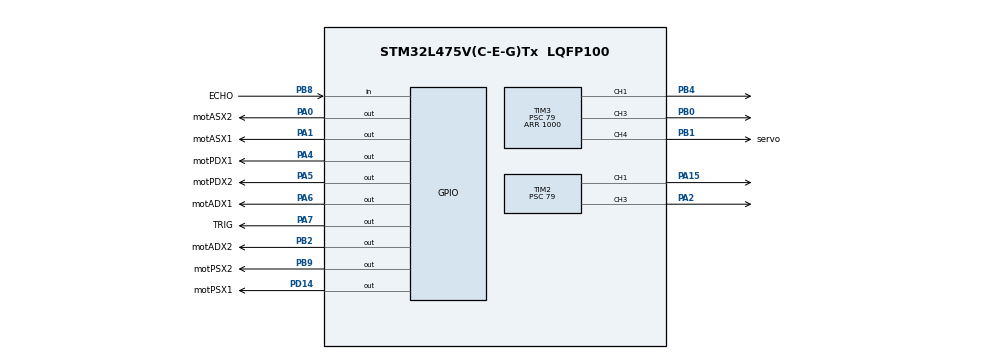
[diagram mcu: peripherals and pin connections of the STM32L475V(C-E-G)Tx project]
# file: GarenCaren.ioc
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Mcu.Family=STM32L4
Mcu.Name=STM32L475V(C-E-G)Tx
Mcu.Package=LQFP100
NVIC.PriorityGroup=NVIC_PRIORITYGROUP_4
NVIC.TIM2_IRQn=true\:0\:0\:false\:false\:true\:true\:true\:true
PA0.GPIO_Label=motASX2
PA0.Signal=GPIO_Output
PA1.GPIO_Label=motASX1
PA1.Signal=GPIO_Output
PA13\ (JTMS-SWDIO).Mode=Serial_Wire
PA13\ (JTMS-SWDIO).Signal=SYS_JTMS-SWDIO
PA14\ (JTCK-SWCLK).Mode=Serial_Wire
PA14\ (JTCK-SWCLK).Signal=SYS_JTCK-SWCLK
PA15\ (JTDI).Signal=S_TIM2_CH1
PA2.Signal=S_TIM2_CH3
PA4.GPIO_Label=motPDX1
PA4.Signal=GPIO_Output
PA5.GPIO_Label=motPDX2
PA5.Signal=GPIO_Output
PA6.GPIO_Label=motADX1
PA6.Signal=GPIO_Output
PA7.GPIO_Label=TRIG
PA7.Signal=GPIO_Output
PB0.Signal=S_TIM3_CH3
PB1.GPIO_Label=servo
PB1.Signal=S_TIM3_CH4
PB2.GPIO_Label=motADX2
PB2.Signal=GPIO_Output
PB4\ (NJTRST).Signal=S_TIM3_CH1
PB8.GPIO_Label=ECHO
PB8.Signal=GPIO_Input
PB9.GPIO_Label=motPSX2
PB9.Signal=GPIO_Output
PD14.GPIO_Label=motPSX1
PD14.Signal=GPIO_Output
ProjectManager.HeapSize=0x200
ProjectManager.StackSize=0x400
ProjectManager.TargetToolchain=STM32CubeIDE
RCC.HSE_VALUE=8000000
RCC.HSI_VALUE=16000000
RCC.LSE_VALUE=32768
RCC.MSI_VALUE=4000000
RCC.VCOOutputFreq_Value=32000000
SH.S_TIM2_CH1.0=TIM2_CH1,PWM Generation1 CH1
SH.S_TIM2_CH3.0=TIM2_CH3,PWM Generation3 CH3
SH.S_TIM3_CH1.0=TIM3_CH1,PWM Generation1 CH1
SH.S_TIM3_CH3.0=TIM3_CH3,PWM Generation3 CH3
SH.S_TIM3_CH4.0=TIM3_CH4,PWM Generation4 CH4
TIM2.Channel-PWM\ Generation1\ CH1=TIM_CHANNEL_1
TIM2.Channel-PWM\ Generation3\ CH3=TIM_CHANNEL_3
TIM2.Period=19999
TIM2.Prescaler=79
TIM3.Channel-PWM\ Generation1\ CH1=TIM_CHANNEL_1
TIM3.Channel-PWM\ Generation3\ CH3=TIM_CHANNEL_3
TIM3.Channel-PWM\ Generation4\ CH4=TIM_CHANNEL_4
TIM3.ClockDivision=TIM_CLOCKDIVISION_DIV1
TIM3.Period=1000
TIM3.Prescaler=79
VP_TIM2_VS_ClockSourceINT.Mode=Internal
VP_TIM3_VS_ClockSourceINT.Mode=Internal
board=custom

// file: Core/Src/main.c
/* USER CODE BEGIN Header */
/**
  ******************************************************************************
  * @file           : main.c
  * @brief          : Main program body
  ******************************************************************************
  * @attention
  *
  * Copyright (c) 2026 STMicroelectronics.
  * All rights reserved.
  *
  * This software is licensed under terms that can be found in the LICENSE file
  * in the root directory of this software component.
  * If no LICENSE file comes with this software, it is provided AS-IS.
  *
  ******************************************************************************
  */
/* USER CODE END Header */
#include "main.h"

TIM_HandleTypeDef htim2;
TIM_HandleTypeDef htim3;

void SystemClock_Config(void);
static void MX_GPIO_Init(void);
static void MX_TIM2_Init(void);
static void MX_TIM3_Init(void);
/* USER CODE BEGIN PFP */
void Servo_SetAngle(uint8_t angle);
void mot_test(void);
void sonar_test(float distanza_min,float distanza_max);
void set_mot_spin_destra(uint16_t speed);
void set_mot_spin_sinistra(uint16_t speed);
void set_mot_curva_destra(void);
void set_mot_curva_sinistra(void);
void mot_turn(uint8_t direzione, uint16_t speed);
void path_finding(void);
float scan_direction(uint8_t verso, uint16_t durata_ms, uint16_t speed);
void DWT_Init(void);
static void mot_dir_lato_sinistro(uint8_t avanti);
static void mot_dir_lato_destro(uint8_t avanti);

void set_mot_speed_individual(uint16_t speed_asx, uint16_t speed_adx, uint16_t speed_psx, uint16_t speed_pdx);
/* USER CODE END PFP */

/* USER CODE BEGIN 0 */

/* --------------------------------------------------------------
   Init del DWT cycle counter: contatore libero della CPU, usato
   per la misura di tempo in misura()/delay_us(). Indipendente
   dai timer periferici -> non disturba mai il PWM dei motori.
   -------------------------------------------------------------- */
void DWT_Init(void)
{
    CoreDebug->DEMCR |= CoreDebug_DEMCR_TRCENA_Msk;
    DWT->CYCCNT = 0;
    DWT->CTRL |= DWT_CTRL_CYCCNTENA_Msk;
}

void Servo_startup(void){
	for (int i = SERVO_posDestra; i <=SERVO_posSinistra ; i++){
		Servo_SetAngle(i);
		HAL_Delay(5);
	 }
	for (int i = SERVO_posSinistra; i > SERVO_posDestra; i--){
		 Servo_SetAngle(i);
		 HAL_Delay(5);
	}
	Servo_SetAngle(SERVO_posDefault);
}

void Servo_SetAngle(uint8_t angle)
{
    uint32_t pulse;

    if (angle > 180U) {
        angle = 180U;
    }

    //
    pulse = SERVO_MIN_TICK + (((uint32_t)angle * (SERVO_MAX_TICK - SERVO_MIN_TICK)) / 180U);

    __HAL_TIM_SET_COMPARE(&htim3, TIM_CHANNEL_4, pulse);
}

/* --------------------------------------------------------------
   delay_us basata sul DWT (prima usava htim2, che è lo stesso
   timer che genera il PWM di 2 motori -> conflitto rimosso).
   -------------------------------------------------------------- */
void delay_us(uint32_t us)
{
    uint32_t start = DWT->CYCCNT;
    uint32_t ticks = us * (SystemCoreClock / 1000000U);
    while ((DWT->CYCCNT - start) < ticks);
}

/* --------------------------------------------------------------
   misura(): stessa formula di distanza di prima, ma il timing
   ora viene dal DWT invece che da htim2, quindi ogni lettura
   ad ultrasuoni non disturba più il PWM dei motori PSX/ADX.
   -------------------------------------------------------------- */
float misura(void)
{
    uint32_t t_trig, t1, t2;
    uint32_t timeout_ticks = (SystemCoreClock / 1000U) * 30U; // timeout 30 ms

    HAL_GPIO_WritePin(TRIG_GPIO_Port, TRIG_Pin, GPIO_PIN_SET);
    delay_us(10);   // impulso di trigger corretto: 10us reali
    HAL_GPIO_WritePin(TRIG_GPIO_Port, TRIG_Pin, GPIO_PIN_RESET);

    t_trig = DWT->CYCCNT;
    while (HAL_GPIO_ReadPin(ECHO_GPIO_Port, ECHO_Pin) == GPIO_PIN_RESET)
    {
        if ((DWT->CYCCNT - t_trig) > timeout_ticks)
            return -1.0f;
    }
    t1 = DWT->CYCCNT;

    while (HAL_GPIO_ReadPin(ECHO_GPIO_Port, ECHO_Pin) == GPIO_PIN_SET)
    {
        if ((DWT->CYCCNT - t1) > timeout_ticks)
            return -1.0f;
    }
    t2 = DWT->CYCCNT;

    float t_us = (float)(t2 - t1) / (float)(SystemCoreClock / 1000000U);
    return t_us * 0.01715f; // distanza in cm
}

void ricerca(void){
	float distanzaMax = 0;
	int posMax = 0;
	float tempDist = 0;
	for (int i = SERVO_posDestra; i <=SERVO_posSinistra ; i++){
			Servo_SetAngle(i);
			tempDist = 0;
			tempDist = misura();
			if (tempDist > distanzaMax){
				distanzaMax = tempDist;
				posMax = i;
			}

			HAL_Delay(10);
		 }
	Servo_SetAngle(posMax);

}
void config_mot(void){
	  // Avvia PWM
	  HAL_TIM_PWM_Start(&htim3, TIM_CHANNEL_1);
	  HAL_TIM_PWM_Start(&htim3, TIM_CHANNEL_3);

	  HAL_TIM_PWM_Start(&htim2, TIM_CHANNEL_1);
	  HAL_TIM_PWM_Start(&htim2, TIM_CHANNEL_3);
	  HAL_TIM_PWM_Start(&htim3, TIM_CHANNEL_4);   // servo
}
/* ================================================================
   MAPPATURA FISICA REALE (confermata dall'utente):
     motASX = Posteriore DESTRA   (RR)
     motPDX = Anteriore  DESTRA   (FR)  -> pin invertiti rispetto agli altri 3
     motADX = Anteriore  SINISTRA (FL)
     motPSX = Posteriore SINISTRA (RL)

   Stato "AVANTI" calibrato da set_mot_drive() originale (funzionante):
     ASX avanti = (1:SET, 2:RESET)
     PDX avanti = (1:RESET, 2:SET)   <- invertito
     ADX avanti = (1:SET, 2:RESET)
     PSX avanti = (1:SET, 2:RESET)

   Da qui in poi si comanda sempre per LATO FISICO reale (sinistra =
   ADX+PSX, destra = ASX+PDX), non più per etichetta di canale, così
   le due ruote dello stesso lato girano sempre nella stessa direzione.
   ================================================================ */

static void mot_dir_ASX(uint8_t avanti){ // Posteriore Destra
    HAL_GPIO_WritePin(motASX1_GPIO_Port, motASX1_Pin, avanti ? GPIO_PIN_SET   : GPIO_PIN_RESET);
    HAL_GPIO_WritePin(motASX2_GPIO_Port, motASX2_Pin, avanti ? GPIO_PIN_RESET : GPIO_PIN_SET);
}
static void mot_dir_PDX(uint8_t avanti){ // Anteriore Destra (pin invertiti)
    HAL_GPIO_WritePin(motPDX1_GPIO_Port, motPDX1_Pin, avanti ? GPIO_PIN_RESET : GPIO_PIN_SET);
    HAL_GPIO_WritePin(motPDX2_GPIO_Port, motPDX2_Pin, avanti ? GPIO_PIN_SET   : GPIO_PIN_RESET);
}
static void mot_dir_ADX(uint8_t avanti){ // Anteriore Sinistra
    HAL_GPIO_WritePin(motADX1_GPIO_Port, motADX1_Pin, avanti ? GPIO_PIN_SET   : GPIO_PIN_RESET);
    HAL_GPIO_WritePin(motADX2_GPIO_Port, motADX2_Pin, avanti ? GPIO_PIN_RESET : GPIO_PIN_SET);
}
static void mot_dir_PSX(uint8_t avanti){ // Posteriore Sinistra
    HAL_GPIO_WritePin(motPSX1_GPIO_Port, motPSX1_Pin, avanti ? GPIO_PIN_SET   : GPIO_PIN_RESET);
    HAL_GPIO_WritePin(motPSX2_GPIO_Port, motPSX2_Pin, avanti ? GPIO_PIN_RESET : GPIO_PIN_SET);
}

static void mot_dir_lato_sinistro(uint8_t avanti){ mot_dir_ADX(avanti); mot_dir_PSX(avanti); }
static void mot_dir_lato_destro(uint8_t avanti){ mot_dir_ASX(avanti); mot_dir_PDX(avanti); }

void set_mot_reverse(void){
	mot_dir_lato_sinistro(0);
	mot_dir_lato_destro(0);
}

void set_mot_drive(void){
	mot_dir_lato_sinistro(1);
	mot_dir_lato_destro(1);
}
void mot_on_speed(short SPEED){
		  // MOTASX
		 __HAL_TIM_SET_COMPARE(&htim3, TIM_CHANNEL_1, SPEED);

		  // MOTPDX
		  __HAL_TIM_SET_COMPARE(&htim3, TIM_CHANNEL_3, SPEED);

		  // MOTPSX
		  __HAL_TIM_SET_COMPARE(&htim2, TIM_CHANNEL_1, SPEED);

		  // MOTADX
		  __HAL_TIM_SET_COMPARE(&htim2, TIM_CHANNEL_3, SPEED);
}
void mot_stop(void){
	HAL_GPIO_WritePin(motPSX2_GPIO_Port, motPSX2_Pin, GPIO_PIN_RESET);
	HAL_GPIO_WritePin(motPSX1_GPIO_Port, motPSX1_Pin, GPIO_PIN_RESET);

	HAL_GPIO_WritePin(motASX1_GPIO_Port, motASX1_Pin, GPIO_PIN_RESET);
	HAL_GPIO_WritePin(motASX2_GPIO_Port, motASX2_Pin, GPIO_PIN_RESET);

	HAL_GPIO_WritePin(motPDX1_GPIO_Port, motPDX1_Pin, GPIO_PIN_RESET);
	HAL_GPIO_WritePin(motPDX2_GPIO_Port, motPDX2_Pin, GPIO_PIN_RESET);

	HAL_GPIO_WritePin(motADX1_GPIO_Port, motADX1_Pin, GPIO_PIN_RESET);
	HAL_GPIO_WritePin(motADX2_GPIO_Port, motADX2_Pin, GPIO_PIN_RESET);

}

void mot_on(void){
	set_mot_drive();

		// MOTPSX - ruota rotta
		__HAL_TIM_SET_COMPARE(&htim2, TIM_CHANNEL_1, MOT_VEL_MAX);
		// MOT ADX
				__HAL_TIM_SET_COMPARE(&htim2, TIM_CHANNEL_3, MOT_VEL_MAX);

		// Velocità (0–999)

		//HAL_Delay(220);
		// MOTASX
		__HAL_TIM_SET_COMPARE(&htim3, TIM_CHANNEL_1, MOT_VEL_MAX);

		// MOTPDX
		__HAL_TIM_SET_COMPARE(&htim3, TIM_CHANNEL_3, MOT_VEL_MAX);

}
void mot_test(void){
	 mot_stop();
	 HAL_Delay(2000);
		 mot_on();
		 HAL_Delay(2000);
}
void sonar_test(float distanza_min,float distanza_max){
	float d = misura();
	if(d>distanza_min && d<distanza_max){
		mot_on();
	}else{
		mot_stop();
	}
}
void mot_turn(uint8_t direzione, uint16_t speed)
{
    mot_stop();
    HAL_Delay(50); // Breve pausa per proteggere i ponti H da picchi di corrente

    if (direzione == MOT_DIREZIONE_DX) {
        set_mot_spin_destra(speed);
    } else if (direzione == MOT_DIREZIONE_SX) {
        set_mot_spin_sinistra(speed);
    }
}
/* Rotazione sul posto: un lato avanti, l'altro indietro, stessa velocità.
   "destra"/"sinistra" restano nomi convenzionali - se scopri che il verso
   fisico è invertito rispetto a quello che ti aspetti, scambia i due
   corpi funzione qui sotto (non toccare mot_dir_*). */
void set_mot_spin_destra(uint16_t speed)
{
    mot_dir_lato_sinistro(1); // avanti
    mot_dir_lato_destro(0);   // indietro
    set_mot_speed_individual(speed, speed, speed, speed);
}
void set_mot_spin_sinistra(uint16_t speed)
{
    mot_dir_lato_sinistro(0); // indietro
    mot_dir_lato_destro(1);   // avanti
    set_mot_speed_individual(speed, speed, speed, speed);
}

/* Curva ad arco: entrambi i lati AVANTI, ma a velocità diverse
   (lato esterno veloce, lato interno lento) -> a differenza di prima
   ora è una vera curva, non un altro spin travestito. */
#define MOT_VEL_INNER   (MOT_VEL_MAX / 3)   // velocità lato interno - da tarare

void set_mot_curva_destra(void) // curva verso destra: interno = destra
{
    mot_dir_lato_sinistro(1);
    mot_dir_lato_destro(1);
    // set_mot_speed_individual(asx, adx, psx, pdx)
    set_mot_speed_individual(MOT_VEL_INNER, MOT_VEL_MAX, MOT_VEL_MAX, MOT_VEL_INNER);
    HAL_Delay(RIT_SPIN);
    mot_stop();
}
void set_mot_curva_sinistra(void) // curva verso sinistra: interno = sinistra
{
    mot_dir_lato_sinistro(1);
    mot_dir_lato_destro(1);
    set_mot_speed_individual(MOT_VEL_MAX, MOT_VEL_INNER, MOT_VEL_INNER, MOT_VEL_MAX);
    HAL_Delay(RIT_SPIN);
    mot_stop();
}
void set_mot_speed_individual(uint16_t speed_asx, uint16_t speed_adx, uint16_t speed_psx, uint16_t speed_pdx)
{
    __HAL_TIM_SET_COMPARE(&htim3, TIM_CHANNEL_1, speed_asx); // ASX
    __HAL_TIM_SET_COMPARE(&htim2, TIM_CHANNEL_3, speed_adx); // ADX
    __HAL_TIM_SET_COMPARE(&htim2, TIM_CHANNEL_1, speed_psx); // PSX
    __HAL_TIM_SET_COMPARE(&htim3, TIM_CHANNEL_3, speed_pdx); // PDX
}
/* --------------------------------------------------------------
   scan_direction(): ruota il robot sul posto in una direzione
   per un tempo FISSO (durata_ms), campionando la distanza max
   rilevata. Sostituisce le vecchie routa_destra/sinistra
   _path_finding(), che scansionavano per un numero di cicli
   diverso tra destra (N_RICERCHE/2) e sinistra (N_RICERCHE):
   ecco perché il confronto tra i due lati non aveva senso.
   -------------------------------------------------------------- */
#define SCAN_TIME_MS   600u   // durata di ogni scansione laterale - da tarare

float scan_direction(uint8_t verso, uint16_t durata_ms, uint16_t speed)
{
    float dist_max = 0.0f;
    uint32_t t_start = HAL_GetTick();

    if (verso == MOT_DIREZIONE_DX)
        set_mot_spin_destra(speed);
    else
        set_mot_spin_sinistra(speed);

    while ((HAL_GetTick() - t_start) < durata_ms)
    {
        float d = misura();
        if (d > dist_max)
            dist_max = d;
        HAL_Delay(10);
    }

    mot_stop();
    return dist_max;
}

/* --------------------------------------------------------------
   path_finding(): macchina a stati simmetrica.
   stop -> scansiona DX (tempo fisso) -> torna al centro (SX,
   stesso tempo) -> scansiona SX (stesso tempo fisso) -> torna
   al centro (DX, stesso tempo) -> confronta -> gira verso il
   lato più libero -> riparte dritto.
   Ogni fase usa la stessa rotazione (spin sul posto), quindi le
   due scansioni sono confrontabili e il robot torna davvero
   all'orientamento di partenza tra una e l'altra.
   -------------------------------------------------------------- */
void path_finding(void){
	mot_stop();
	HAL_Delay(100);

	// 1. Scansiona a destra
	float destra = scan_direction(MOT_DIREZIONE_DX, SCAN_TIME_MS, MOT_VEL_MAX);
	HAL_Delay(200);

	// 2. Torna al centro (stessa rotazione, verso opposto, stesso tempo)
	mot_turn(MOT_DIREZIONE_SX, MOT_VEL_MAX);
	HAL_Delay(SCAN_TIME_MS);
	mot_stop();
	HAL_Delay(200);

	// 3. Scansiona a sinistra, STESSO tempo di scansione della destra
	float sinistra = scan_direction(MOT_DIREZIONE_SX, SCAN_TIME_MS, MOT_VEL_MAX);
	HAL_Delay(200);

	// 4. Torna al centro
	mot_turn(MOT_DIREZIONE_DX, MOT_VEL_MAX);
	HAL_Delay(SCAN_TIME_MS);
	mot_stop();
	HAL_Delay(200);

	// 5. Gira verso il lato con più spazio libero
	if(destra > sinistra){

		mot_turn(MOT_DIREZIONE_DX, MOT_VEL_MAX);
	}else{

		mot_turn(MOT_DIREZIONE_SX, MOT_VEL_MAX);
	}

	HAL_Delay(SCAN_TIME_MS ); // gira circa a metà strada verso lo spazio libero
	mot_stop();
	HAL_Delay(100);

	// 6. Riparte dritto
	set_mot_drive();
	mot_on_speed(MOT_VEL_MAX);
}

/* USER CODE END 0 */

int main(void){

  /* MCU Configuration--------------------------------------------------------*/

  /* Reset of all peripherals, Initializes the Flash interface and the Systick. */
  HAL_Init();

  /* Configure the system clock */
  SystemClock_Config();

  /* USER CODE BEGIN SysInit */
  DWT_Init(); // abilita il cycle counter usato da misura()/delay_us()
  /* USER CODE END SysInit */

  /* Initialize all configured peripherals */
  MX_GPIO_Init();
  MX_TIM2_Init();
  MX_TIM3_Init();
  /* USER CODE BEGIN 2 */
  HAL_TIM_Base_Start(&htim2);
  HAL_TIM_PWM_Start(&htim3, TIM_CHANNEL_4);

  config_mot();
  set_mot_drive();

  mot_stop();
  HAL_Delay(startup_delay);

  /* USER CODE END 2 */

  /* Infinite loop */
  while (1)
  {
	  //test

	  /* Se rileva un ostacolo tra 2cm e 20cm */
	 if (misura() > 3.0f && misura() < 20.0f) {
		 	mot_stop();

		 	set_mot_reverse();
		 		      mot_on_speed(MOT_VEL_MAX);
		 		      HAL_Delay(250);

		 	mot_stop();
		 	HAL_Delay(1500);

		 	// 1. Torna indietro per 0.5 secondi
		 	set_mot_reverse();
		 	mot_on_speed(MOT_VEL_MAX);
		 	HAL_Delay(REVERSE_TIME);
		 	mot_stop();
		 	HAL_Delay(1500);

		 	//ricerca punto
		 	path_finding();
		 	mot_stop();
		 	HAL_Delay(2000);

		 	HAL_Delay(50);
	  } else {
	      // Prosegue dritto
	      set_mot_drive();
	      mot_on_speed(MOT_VEL_MAX);
	  }
  }
}

void SystemClock_Config(void)
{
  RCC_OscInitTypeDef RCC_OscInitStruct = {0};
  RCC_ClkInitTypeDef RCC_ClkInitStruct = {0};

  /** Configure the main internal regulator output voltage
  */
  if (HAL_PWREx_ControlVoltageScaling(PWR_REGULATOR_VOLTAGE_SCALE1) != HAL_OK)
  {
    Error_Handler();
  }

  /** Initializes the RCC Oscillators according to the specified parameters
  * in the RCC_OscInitTypeDef structure.
  */
  RCC_OscInitStruct.OscillatorType = RCC_OSCILLATORTYPE_MSI;
  RCC_OscInitStruct.MSIState = RCC_MSI_ON;
  RCC_OscInitStruct.MSICalibrationValue = 0;
  RCC_OscInitStruct.MSIClockRange = RCC_MSIRANGE_6;
  RCC_OscInitStruct.PLL.PLLState = RCC_PLL_NONE;
  if (HAL_RCC_OscConfig(&RCC_OscInitStruct) != HAL_OK)
  {
    Error_Handler();
  }

  /** Initializes the CPU, AHB and APB buses clocks
  */
  RCC_ClkInitStruct.ClockType = RCC_CLOCKTYPE_HCLK|RCC_CLOCKTYPE_SYSCLK
                              |RCC_CLOCKTYPE_PCLK1|RCC_CLOCKTYPE_PCLK2;
  RCC_ClkInitStruct.SYSCLKSource = RCC_SYSCLKSOURCE_MSI;
  RCC_ClkInitStruct.AHBCLKDivider = RCC_SYSCLK_DIV1;
  RCC_ClkInitStruct.APB1CLKDivider = RCC_HCLK_DIV1;
  RCC_ClkInitStruct.APB2CLKDivider = RCC_HCLK_DIV1;

  if (HAL_RCC_ClockConfig(&RCC_ClkInitStruct, FLASH_LATENCY_0) != HAL_OK)
  {
    Error_Handler();
  }
}

static void MX_TIM2_Init(void)
{

  TIM_ClockConfigTypeDef sClockSourceConfig = {0};
  TIM_MasterConfigTypeDef sMasterConfig = {0};
  TIM_OC_InitTypeDef sConfigOC = {0};

  htim2.Instance = TIM2;
  htim2.Init.Prescaler = 79;
  htim2.Init.CounterMode = TIM_COUNTERMODE_UP;
  htim2.Init.Period = 19999;
  htim2.Init.ClockDivision = TIM_CLOCKDIVISION_DIV1;
  htim2.Init.AutoReloadPreload = TIM_AUTORELOAD_PRELOAD_DISABLE;
  if (HAL_TIM_Base_Init(&htim2) != HAL_OK)
  {
    Error_Handler();
  }
  sClockSourceConfig.ClockSource = TIM_CLOCKSOURCE_INTERNAL;
  if (HAL_TIM_ConfigClockSource(&htim2, &sClockSourceConfig) != HAL_OK)
  {
    Error_Handler();
  }
  if (HAL_TIM_PWM_Init(&htim2) != HAL_OK)
  {
    Error_Handler();
  }
  sMasterConfig.MasterOutputTrigger = TIM_TRGO_RESET;
  sMasterConfig.MasterSlaveMode = TIM_MASTERSLAVEMODE_DISABLE;
  if (HAL_TIMEx_MasterConfigSynchronization(&htim2, &sMasterConfig) != HAL_OK)
  {
    Error_Handler();
  }
  sConfigOC.OCMode = TIM_OCMODE_PWM1;
  sConfigOC.Pulse = 0;
  sConfigOC.OCPolarity = TIM_OCPOLARITY_HIGH;
  sConfigOC.OCFastMode = TIM_OCFAST_DISABLE;
  if (HAL_TIM_PWM_ConfigChannel(&htim2, &sConfigOC, TIM_CHANNEL_1) != HAL_OK)
  {
    Error_Handler();
  }
  if (HAL_TIM_PWM_ConfigChannel(&htim2, &sConfigOC, TIM_CHANNEL_3) != HAL_OK)
  {
    Error_Handler();
  }
  HAL_TIM_MspPostInit(&htim2);

}

static void MX_TIM3_Init(void)
{

  TIM_ClockConfigTypeDef sClockSourceConfig = {0};
  TIM_MasterConfigTypeDef sMasterConfig = {0};
  TIM_OC_InitTypeDef sConfigOC = {0};

  htim3.Instance = TIM3;
  htim3.Init.Prescaler = 79;
  htim3.Init.CounterMode = TIM_COUNTERMODE_UP;
  htim3.Init.Period = 1000;
  htim3.Init.ClockDivision = TIM_CLOCKDIVISION_DIV1;
  htim3.Init.AutoReloadPreload = TIM_AUTORELOAD_PRELOAD_DISABLE;
  if (HAL_TIM_Base_Init(&htim3) != HAL_OK)
  {
    Error_Handler();
  }
  sClockSourceConfig.ClockSource = TIM_CLOCKSOURCE_INTERNAL;
  if (HAL_TIM_ConfigClockSource(&htim3, &sClockSourceConfig) != HAL_OK)
  {
    Error_Handler();
  }
  if (HAL_TIM_PWM_Init(&htim3) != HAL_OK)
  {
    Error_Handler();
  }
  sMasterConfig.MasterOutputTrigger = TIM_TRGO_RESET;
  sMasterConfig.MasterSlaveMode = TIM_MASTERSLAVEMODE_DISABLE;
  if (HAL_TIMEx_MasterConfigSynchronization(&htim3, &sMasterConfig) != HAL_OK)
  {
    Error_Handler();
  }
  sConfigOC.OCMode = TIM_OCMODE_PWM1;
  sConfigOC.Pulse = 0;
  sConfigOC.OCPolarity = TIM_OCPOLARITY_HIGH;
  sConfigOC.OCFastMode = TIM_OCFAST_DISABLE;
  if (HAL_TIM_PWM_ConfigChannel(&htim3, &sConfigOC, TIM_CHANNEL_1) != HAL_OK)
  {
    Error_Handler();
  }
  if (HAL_TIM_PWM_ConfigChannel(&htim3, &sConfigOC, TIM_CHANNEL_3) != HAL_OK)
  {
    Error_Handler();
  }
  if (HAL_TIM_PWM_ConfigChannel(&htim3, &sConfigOC, TIM_CHANNEL_4) != HAL_OK)
  {
    Error_Handler();
  }
  HAL_TIM_MspPostInit(&htim3);

}

static void MX_GPIO_Init(void)
{
  GPIO_InitTypeDef GPIO_InitStruct = {0};

  /* GPIO Ports Clock Enable */
  __HAL_RCC_GPIOA_CLK_ENABLE();
  __HAL_RCC_GPIOB_CLK_ENABLE();
  __HAL_RCC_GPIOD_CLK_ENABLE();

  /*Configure GPIO pin Output Level */
  HAL_GPIO_WritePin(GPIOA, motASX2_Pin|motASX1_Pin|motPDX1_Pin|motPDX2_Pin
                          |motADX1_Pin|TRIG_Pin, GPIO_PIN_RESET);

  /*Configure GPIO pin Output Level */
  HAL_GPIO_WritePin(GPIOB, motADX2_Pin|motPSX2_Pin, GPIO_PIN_RESET);

  /*Configure GPIO pin Output Level */
  HAL_GPIO_WritePin(motPSX1_GPIO_Port, motPSX1_Pin, GPIO_PIN_RESET);

  /*Configure GPIO pins : motASX2_Pin motASX1_Pin motPDX1_Pin motPDX2_Pin
                           motADX1_Pin TRIG_Pin */
  GPIO_InitStruct.Pin = motASX2_Pin|motASX1_Pin|motPDX1_Pin|motPDX2_Pin
                          |motADX1_Pin|TRIG_Pin;
  GPIO_InitStruct.Mode = GPIO_MODE_OUTPUT_PP;
  GPIO_InitStruct.Pull = GPIO_NOPULL;
  GPIO_InitStruct.Speed = GPIO_SPEED_FREQ_LOW;
  HAL_GPIO_Init(GPIOA, &GPIO_InitStruct);

  /*Configure GPIO pins : motADX2_Pin motPSX2_Pin */
  GPIO_InitStruct.Pin = motADX2_Pin|motPSX2_Pin;
  GPIO_InitStruct.Mode = GPIO_MODE_OUTPUT_PP;
  GPIO_InitStruct.Pull = GPIO_NOPULL;
  GPIO_InitStruct.Speed = GPIO_SPEED_FREQ_LOW;
  HAL_GPIO_Init(GPIOB, &GPIO_InitStruct);

  /*Configure GPIO pin : motPSX1_Pin */
  GPIO_InitStruct.Pin = motPSX1_Pin;
  GPIO_InitStruct.Mode = GPIO_MODE_OUTPUT_PP;
  GPIO_InitStruct.Pull = GPIO_NOPULL;
  GPIO_InitStruct.Speed = GPIO_SPEED_FREQ_LOW;
  HAL_GPIO_Init(motPSX1_GPIO_Port, &GPIO_InitStruct);

  /*Configure GPIO pin : ECHO_Pin */
  GPIO_InitStruct.Pin = ECHO_Pin;
  GPIO_InitStruct.Mode = GPIO_MODE_INPUT;
  GPIO_InitStruct.Pull = GPIO_NOPULL;
  HAL_GPIO_Init(ECHO_GPIO_Port, &GPIO_InitStruct);

}

void Error_Handler(void)
{
  __disable_irq();
  while (1)
  {
  }
}
